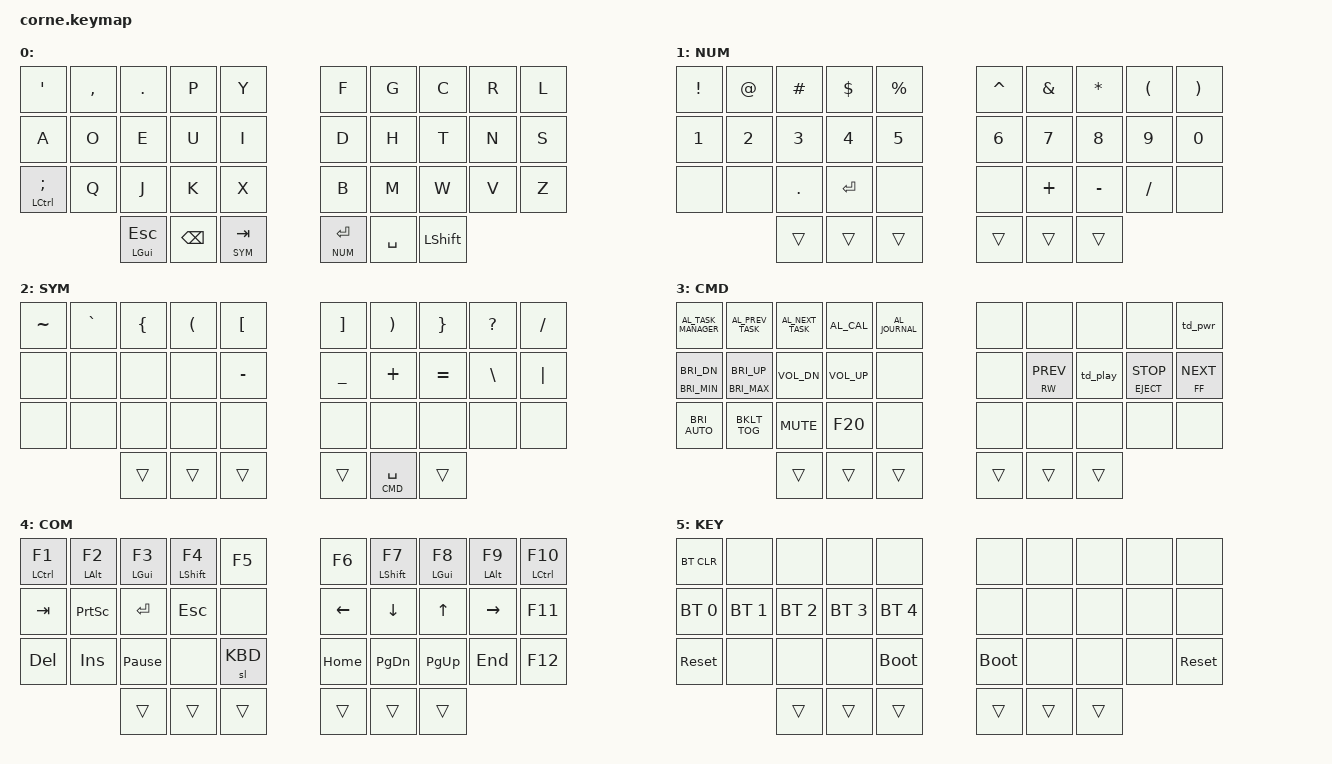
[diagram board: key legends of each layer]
/*
 * Copyright (c) 2020 The ZMK Contributors
 *
 * SPDX-License-Identifier: MIT
 */

#include <behaviors.dtsi>
#include <dt-bindings/zmk/keys.h>
#include <dt-bindings/zmk/bt.h>
// #include <layouts/foostan/corne/5column.dtsi>

// Custom layers
#define DEFAULT  0
#define NUM      1
#define SYM      2
#define CMD      3
#define PC       4
#define KBD      5

// &foostan_corne_5col_layout {
//     transform = <&default_transform>;
// };

/ {
    chosen {
      zmk,matrix_transform = &five_column_transform;
    };

    behaviors {
        morph_PLAY_STOP: morph_PLAY_STOP {
            compatible = "zmk,behavior-mod-morph";
            #binding-cells = <0>;
            bindings = <&kp C_PLAY_PAUSE>, <&kp C_STOP>;
            mods = <(MOD_LSFT)>;
        };
        morph_PREV_NEXT: morph_PREV_NEXT {
            compatible = "zmk,behavior-mod-morph";
            #binding-cells = <0>;
            bindings = <&kp C_PREV>, <&kp C_NEXT>;
            mods = <(MOD_LSFT)>;
        };
        morph_media: morph_media {
            compatible = "zmk,behavior-mod-morph";
            #binding-cells = <0>;
            bindings = <&morph_PREV_NEXT>, <&morph_PLAY_STOP>;
            mods = <(MOD_LGUI)>;
        };

        morph_BRIGHTNESS: morph_BRIGHTNESS {
            compatible = "zmk,behavior-mod-morph";
            #binding-cells = <0>;
            bindings = <&kp C_BRI_DN>, <&kp C_BRI_UP>;
            mods = <(MOD_LSFT)>;
        };
        morph_VOLUME: morph_VOLUME {
            compatible = "zmk,behavior-mod-morph";
            #binding-cells = <0>;
            bindings = <&kp C_VOL_DN>, <&kp C_VOL_UP>;
            mods = <(MOD_LSFT)>;
        };
        morph_output: morph_output {
            compatible = "zmk,behavior-mod-morph";
            #binding-cells = <0>;
            bindings = <&morph_VOLUME>, <&morph_BRIGHTNESS>;
            mods = <(MOD_LGUI)>;
        };

        td_play: tap_dance_play {
            compatible = "zmk,behavior-tap-dance";
            #binding-cells = <0>;
            tapping-term-ms = <300>;
            bindings = <&kp C_PLAY_PAUSE>, <&kp C_REPEAT>, <&kp C_SHUFFLE>;
        };

        td_pwr: tap_dance_power {
            compatible = "zmk,behavior-tap-dance";
            #binding-cells = <0>;
            tapping-term-ms = <300>;
            bindings = <&as C_AL_LOGOFF C_AL_LOCK>, <&kp C_POWER>;
        };

        as: auto_shift {
            compatible = "zmk,behavior-hold-tap";
            #binding-cells = <2>;
            tapping_term_ms = <135>;
            quick_tap_ms = <0>;
            flavor = "tap-preferred";
            bindings = <&kp>, <&kp>;
        };
    };

    conditional_layers {
        compatible = "zmk,conditional-layers";
        cmd_layer {
            if-layers = <NUM SYM>;
            then-layer = <PC>;
        };
    };

    keymap {
        compatible = "zmk,keymap";

        default_layer {
            display-name = "   ";
            // -----------------------------------------------------------------------------------
            // |  '  |  ,  |  .      |  P   |  Y      |   |  F      |  G    |  C     |  R  |  L  |
            // |  A  |  O  |  E      |  U   |  I      |   |  D      |  H    |  T     |  N  |  S  |
            // |  ;  |  Q  |  J      |  K   |  X      |   |  B      |  M    |  W     |  V  |  Z  |
            //             | GUI/ESC | BSPC | SYM/TAB |   | NUM/RET | SPACE | LSHIFT |
            bindings = <
                &kp SQT        &kp COMMA &kp DOT       &kp P         &kp Y       &kp F           &kp G            &kp C            &kp R &kp L
                &kp A          &kp O     &kp E         &kp U         &kp I       &kp D           &kp H            &kp T            &kp N &kp S
                &mt LCTRL SEMI &kp Q     &kp J         &kp K         &kp X       &kp B           &kp M            &kp W            &kp V &kp Z
                                         &mt LGUI ESC  &kp BSPC      &lt SYM TAB &lt NUM RETURN  &kp SPACE        &kp LSHIFT
            >;
        };
        number_layer {
            display-name = "NUM";
            // -----------------------------------------------------------------
            // |  !  |  @  |  #  |  $  |  %  |   |  ^  |  &  |  *  |  (  |  )  |
            // |  1  |  2  |  3  |  4  |  5  |   |  6  |  7  |  8  |  9  |  0  |
            // |     |     |     | RET |     |   |     |  +  |  -  |  /  |     |
            //             | VVV | VVV | VVV |   | VVV | VVV | VVV |
            bindings = <
                &kp EXCL  &kp AT    &kp HASH  &kp DOLLAR &kp PERCENT &kp CARET &kp AMPS  &kp STAR  &kp LPAR  &kp RPAR
                &kp N1    &kp N2    &kp N3    &kp N4     &kp N5      &kp N6    &kp N7    &kp N8    &kp N9    &kp N0
                &none     &none     &kp DOT   &kp RETURN &none       &none     &kp PLUS  &kp MINUS &kp SLASH &none
                                    &trans    &trans     &trans      &trans    &trans    &trans
            >;
        };
        symbol_layer {
            display-name = "SYM";
            // -----------------------------------------------------------------
            // |  ~  |  `  |  {  |  (  |  [  |   |  ]  |  )  |  }  |  ?  |  /  |
            // |     |     |     |     |  -  |   |  _  |  +  |  =  |  \  |  |  |
            // |     |     |     |     |     |   |     |     |     |     |     |
            //             | VVV | VVV | VVV |   | VVV | VVV | VVV |
            bindings = <
                &kp TILDE &kp GRAVE &kp LBRC &kp LPAR &kp LBKT  &kp RBKT  &kp RPAR      &kp RBRC  &kp QMARK &kp SLASH
                &none     &none     &none    &none    &kp MINUS &kp UNDER &kp PLUS      &kp EQUAL &kp BSLH  &kp PIPE
                &none     &none     &none    &none    &none     &none     &none         &none     &none     &none 
                                    &trans   &trans   &trans    &trans    &lt CMD SPACE &trans
            >;
        };
        command_layer {
            display-name = "CMD";
            // --------------------------------------------------------------------------------------------------------------------
            // | TASK_MGR   | PREV_TASK  | NEXT_TASK | CALENDAR | JOURNAL |   |        |          |        |            | POWER   |
            // | BRI_DN/MIN | BRI_UP/MAX | VOL_DN    | VOL_UP   |         |   |        | <<  |<<  | PP/R/S | EJECT/STOP | >>  >>| |
            // | BRI_AUTO   | BKLT_TOG   | VOL_MUTE  | PRINT    |         |   |        |          |        |            |         |
            //                           | VVVVVVVVV | VVVVVVVV | VVVVVVV |   | VVVVVV | VVVVVVVV | VVVVVV |
            bindings = <
                &kp C_AL_TASK_MANAGER  &kp C_AL_PREV_TASK     &kp C_AL_NEXT_TASK &kp C_AL_CAL &kp C_AL_JOURNAL &none  &none           &none       &none              &td_pwr
                &as C_BRI_MIN C_BRI_DN &as C_BRI_MAX C_BRI_UP &kp C_VOL_DN       &kp C_VOL_UP &none            &none  &mt C_RW C_PREV &td_play    &as C_EJECT C_STOP &mt C_FF C_NEXT
                &kp C_BRI_AUTO         &kp C_BKLT_TOG         &kp C_MUTE         &kp F20      &none            &none  &none           &none       &none              &none
                                                              &trans             &trans       &trans           &trans &trans          &trans
            >;
        };
        computer_layer {
            display-name = "COM";
            // ----------------------------------------------------------------------------------------------------------
            // | CTRL/F1 | ALT/F2 | GUI/F3    | SHIFT/F4 | F5      |   | F6     | SHIFT/F7 | GUI/F8 | ALT/F9 | CTRL/F10 |
            // | TAB     | PSCRN  | RETURN    | ESC      |         |   | LEFT   | DOWN     | UP     | RIGHT  | F11      |
            // | DEL     | INSERT | PAUSE     |          | SL(KBD) |   | HOME   | PG_DN    | PG_UP  | END    | F12      |
            //                    | VVVVVVVVV | VVVVVVVV | VVVVVV  |   | VVVVVV | VVVVVVVV | VVVVVV |
            bindings = <
                &mt LCTRL F1 &mt LALT F2 &mt LGUI F3     &mt LSHIFT F4 &kp F5        &kp F6       &mt LSHIFT F7 &mt LGUI F8 &mt LALT F9 &mt LCTRL F10
                &kp TAB      &kp PSCRN   &kp RETURN      &kp ESC       &none         &kp LEFT     &kp DOWN      &kp UP      &kp RIGHT   &kp F11
                &kp DEL      &kp INSERT  &kp PAUSE_BREAK &none         &sl KBD       &kp HOME     &kp PG_DN     &kp PG_UP   &kp END     &kp F12
                                         &trans          &trans        &trans        &trans       &trans        &trans
            >;
        };
        keyboard_layer {
            display-name = "KEY";
            // -----------------------------------------------------------------------------
            // | BT_CLR |      |      |      |      |   |      |      |      |     |       |
            // | BT 0   | BT 1 | BT 2 | BT 3 | BT 4 |   |      |      |      |     |       |
            // | RESET  |      |      |      | BOOT |   | BOOT |      |      |     | RESET |
            //                 | VVVV | VVVV | VVVV |   | VVVV | VVVV | VVVV |
            bindings = <
                &bt BT_CLR   &none        &none        &none        &none        &none       &none            &none      &none  &none
                &bt BT_SEL 0 &bt BT_SEL 1 &bt BT_SEL 2 &bt BT_SEL 3 &bt BT_SEL 4 &none       &none            &none      &none  &none
                &sys_reset   &none        &none        &none        &bootloader  &bootloader &none            &none      &none  &sys_reset
                                          &trans       &trans       &trans       &trans      &trans           &trans
            >;
        };
    };
};
